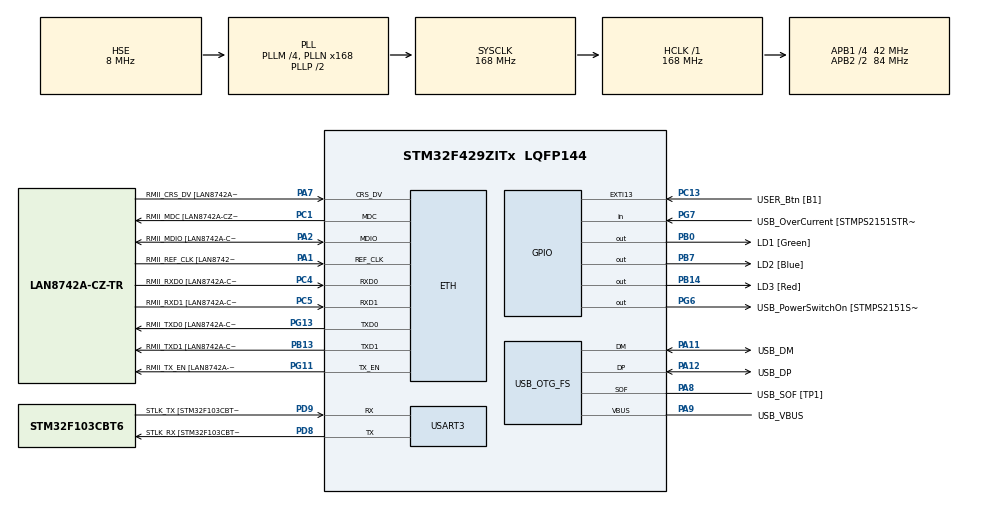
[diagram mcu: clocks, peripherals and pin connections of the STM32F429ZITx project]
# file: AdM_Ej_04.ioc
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ETH.MediaInterface=HAL_ETH_RMII_MODE
ETH.PHY_Name=LAN8742A_PHY_ADDRESS
ETH.PHY_Value=0
ETH.PhyAddress=0
Mcu.Family=STM32F4
Mcu.Name=STM32F429ZITx
Mcu.Package=LQFP144
NVIC.PriorityGroup=NVIC_PRIORITYGROUP_4
PA1.GPIO_Label=RMII_REF_CLK [LAN8742A-CZ-TR_REFCLK0]
PA1.Mode=RMII
PA1.Signal=ETH_REF_CLK
PA10.GPIO_Label=USB_ID
PA10.Signal=USB_OTG_FS_ID
PA11.GPIO_Label=USB_DM
PA11.Mode=Device_Only
PA11.Signal=USB_OTG_FS_DM
PA12.GPIO_Label=USB_DP
PA12.Mode=Device_Only
PA12.Signal=USB_OTG_FS_DP
PA13.GPIO_Label=TMS
PA13.Mode=Serial_Wire
PA13.Signal=SYS_JTMS-SWDIO
PA14.GPIO_Label=TCK
PA14.Mode=Serial_Wire
PA14.Signal=SYS_JTCK-SWCLK
PA2.GPIO_Label=RMII_MDIO [LAN8742A-CZ-TR_MDIO]
PA2.Mode=RMII
PA2.Signal=ETH_MDIO
PA7.GPIO_Label=RMII_CRS_DV [LAN8742A-CZ-TR_CRS_DV]
PA7.Mode=RMII
PA7.Signal=ETH_CRS_DV
PA8.GPIO_Label=USB_SOF [TP1]
PA8.Mode=Activate_SOF_FS
PA8.Signal=USB_OTG_FS_SOF
PA9.GPIO_Label=USB_VBUS
PA9.Mode=Activate_VBUS
PA9.Signal=USB_OTG_FS_VBUS
PB0.GPIO_Label=LD1 [Green]
PB0.Signal=GPIO_Output
PB13.GPIO_Label=RMII_TXD1 [LAN8742A-CZ-TR_TXD1]
PB13.Mode=RMII
PB13.Signal=ETH_TXD1
PB14.GPIO_Label=LD3 [Red]
PB14.Signal=GPIO_Output
PB7.GPIO_Label=LD2 [Blue]
PB7.Signal=GPIO_Output
PC1.GPIO_Label=RMII_MDC [LAN8742A-CZ-TR_MDC]
PC1.Mode=RMII
PC1.Signal=ETH_MDC
PC13.GPIO_Label=USER_Btn [B1]
PC13.Signal=GPXTI13
PC14/OSC32_IN.Mode=LSE-External-Oscillator
PC14/OSC32_IN.Signal=RCC_OSC32_IN
PC15/OSC32_OUT.Mode=LSE-External-Oscillator
PC15/OSC32_OUT.Signal=RCC_OSC32_OUT
PC4.GPIO_Label=RMII_RXD0 [LAN8742A-CZ-TR_RXD0]
PC4.Mode=RMII
PC4.Signal=ETH_RXD0
PC5.GPIO_Label=RMII_RXD1 [LAN8742A-CZ-TR_RXD1]
PC5.Mode=RMII
PC5.Signal=ETH_RXD1
PD8.GPIO_Label=STLK_RX [STM32F103CBT6_PA3]
PD8.Mode=Asynchronous
PD8.Signal=USART3_TX
PD9.GPIO_Label=STLK_TX [STM32F103CBT6_PA2]
PD9.Mode=Asynchronous
PD9.Signal=USART3_RX
PG11.GPIO_Label=RMII_TX_EN [LAN8742A-CZ-TR_TXEN]
PG11.Mode=RMII
PG11.Signal=ETH_TX_EN
PG13.GPIO_Label=RMII_TXD0 [LAN8742A-CZ-TR_TXD0]
PG13.Mode=RMII
PG13.Signal=ETH_TXD0
PG6.GPIO_Label=USB_PowerSwitchOn [STMPS2151STR_EN]
PG6.Signal=GPIO_Output
PG7.GPIO_Label=USB_OverCurrent [STMPS2151STR_FAULT]
PG7.Signal=GPIO_Input
PH0/OSC_IN.GPIO_Label=MCO [STM32F103CBT6_PA8]
PH0/OSC_IN.Mode=HSE-External-Clock-Source
PH0/OSC_IN.Signal=RCC_OSC_IN
PH1/OSC_OUT.Mode=HSE-External-Clock-Source
PH1/OSC_OUT.Signal=RCC_OSC_OUT
ProjectManager.HeapSize=0x200
ProjectManager.StackSize=0x400
ProjectManager.TargetToolchain=STM32CubeIDE
RCC.48MHZClocksFreq_Value=48000000
RCC.AHBFreq_Value=168000000
RCC.APB1CLKDivider=RCC_HCLK_DIV4
RCC.APB1Freq_Value=42000000
RCC.APB1TimFreq_Value=84000000
RCC.APB2CLKDivider=RCC_HCLK_DIV2
RCC.APB2Freq_Value=84000000
RCC.APB2TimCLKDivider=2
RCC.APB2TimFreq_Value=168000000
RCC.CortexFreq_Value=168000000
RCC.HCLKFreq_Value=168000000
RCC.HSE_VALUE=8000000
RCC.HSI_VALUE=16000000
RCC.PLLM=4
RCC.PLLMUL=RCC_PLL_MUL9
RCC.PLLN=168
RCC.PLLQ=7
RCC.PRESCALERUSB=RCC_USBCLKSOURCE_PLL_DIV1_5
RCC.SYSCLKFreq_VALUE=168000000
RCC.SYSCLKSource=RCC_SYSCLKSOURCE_PLLCLK
RCC.SYSCLKSourceVirtual=RCC_SYSCLKSOURCE_PLLCLK
RCC.USBFreq_Value=48000000
RCC.VCOOutputFreq_Value=336000000
USART3.VirtualMode=VM_ASYNC
USB_OTG_FS.VirtualMode=Device_Only
board=NUCLEO-F429ZI

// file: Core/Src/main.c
/* USER CODE BEGIN Header */
/**
  ******************************************************************************
  * @file           : main.c
  * @brief          : Main program body
  ******************************************************************************
  * @attention
  *
  * Copyright (c) 2023 STMicroelectronics.
  * All rights reserved.
  *
  * This software is licensed under terms that can be found in the LICENSE file
  * in the root directory of this software component.
  * If no LICENSE file comes with this software, it is provided AS-IS.
  *
  ******************************************************************************
  */
/* USER CODE END Header */
#include "main.h"
#include "string.h"

/* USER CODE BEGIN Includes */
#include "stdio.h"
#include "errno.h"
#include "stdlib.h"
#include "unistd.h"
#include "asm_func.h"
/* USER CODE END Includes */

/* USER CODE BEGIN PD */
#define MAX_UINT12 4095
/* USER CODE END PD */

ETH_TxPacketConfig TxConfig;
ETH_DMADescTypeDef  DMARxDscrTab[ETH_RX_DESC_CNT]; /* Ethernet Rx DMA Descriptors */
ETH_DMADescTypeDef  DMATxDscrTab[ETH_TX_DESC_CNT]; /* Ethernet Tx DMA Descriptors */

ETH_HandleTypeDef heth;

UART_HandleTypeDef huart3;

PCD_HandleTypeDef hpcd_USB_OTG_FS;

void SystemClock_Config(void);
static void MX_GPIO_Init(void);
static void MX_ETH_Init(void);
static void MX_USART3_UART_Init(void);
static void MX_USB_OTG_FS_PCD_Init(void);
/* USER CODE BEGIN PFP */
void productoEscalar12(uint16_t * vectorIn, uint16_t * vectorOut, uint32_t longitud, uint16_t escalar);
/* USER CODE END PFP */

/* USER CODE BEGIN 0 */
int _write(int file, char *data, int len)
{
   if ((file != STDOUT_FILENO) && (file != STDERR_FILENO))
   {
      errno = EBADF;
      return -1;
   }

   // arbitrary timeout 1000
   HAL_StatusTypeDef status =
      HAL_UART_Transmit(&huart3, (uint8_t*)data, len, 1000);

   // return # of bytes written - as best we can tell
   return (status == HAL_OK ? len : 0);
}
/* USER CODE END 0 */

int main(void)
{

  /* MCU Configuration--------------------------------------------------------*/

  /* Reset of all peripherals, Initializes the Flash interface and the Systick. */
  HAL_Init();

  /* Configure the system clock */
  SystemClock_Config();

  /* Initialize all configured peripherals */
  MX_GPIO_Init();
  MX_ETH_Init();
  MX_USART3_UART_Init();
  MX_USB_OTG_FS_PCD_Init();

  /* Infinite loop */
  /* USER CODE BEGIN WHILE */
  while (1)
  {
	  uint16_t vector [8]= {23, 456, 45, 989, 60, 3456, 9865, 12};
	  uint16_t escalar = 54;
	  uint32_t longitud = 8;
	  uint16_t output[8];

	  // Función de multiplicacion con saturación en C
	  productoEscalar12(vector, output, longitud, escalar);
	  printf("\r\n");
	  for(int i=0; i<longitud; i++){
		  printf("%d * %d = %d\n\r", vector[i], escalar, output[i]);
	  }

	  // Función mediante código assembler
	  escalar = 23;
	  asm_prodEsc12(vector, output, longitud, escalar);
	 	  printf("\r\n");
	 	  for(int i=0; i<longitud; i++){
	 		  printf("%d * %d = %d\n\r", vector[i], escalar, output[i]);
	 	  }
	  while(1);
	  /* USER CODE END WHILE */

  }
}

void SystemClock_Config(void)
{
  RCC_OscInitTypeDef RCC_OscInitStruct = {0};
  RCC_ClkInitTypeDef RCC_ClkInitStruct = {0};

  /** Configure the main internal regulator output voltage
  */
  __HAL_RCC_PWR_CLK_ENABLE();
  __HAL_PWR_VOLTAGESCALING_CONFIG(PWR_REGULATOR_VOLTAGE_SCALE1);

  /** Initializes the RCC Oscillators according to the specified parameters
  * in the RCC_OscInitTypeDef structure.
  */
  RCC_OscInitStruct.OscillatorType = RCC_OSCILLATORTYPE_HSE;
  RCC_OscInitStruct.HSEState = RCC_HSE_BYPASS;
  RCC_OscInitStruct.PLL.PLLState = RCC_PLL_ON;
  RCC_OscInitStruct.PLL.PLLSource = RCC_PLLSOURCE_HSE;
  RCC_OscInitStruct.PLL.PLLM = 4;
  RCC_OscInitStruct.PLL.PLLN = 168;
  RCC_OscInitStruct.PLL.PLLP = RCC_PLLP_DIV2;
  RCC_OscInitStruct.PLL.PLLQ = 7;
  if (HAL_RCC_OscConfig(&RCC_OscInitStruct) != HAL_OK)
  {
    Error_Handler();
  }

  /** Initializes the CPU, AHB and APB buses clocks
  */
  RCC_ClkInitStruct.ClockType = RCC_CLOCKTYPE_HCLK|RCC_CLOCKTYPE_SYSCLK
                              |RCC_CLOCKTYPE_PCLK1|RCC_CLOCKTYPE_PCLK2;
  RCC_ClkInitStruct.SYSCLKSource = RCC_SYSCLKSOURCE_PLLCLK;
  RCC_ClkInitStruct.AHBCLKDivider = RCC_SYSCLK_DIV1;
  RCC_ClkInitStruct.APB1CLKDivider = RCC_HCLK_DIV4;
  RCC_ClkInitStruct.APB2CLKDivider = RCC_HCLK_DIV2;

  if (HAL_RCC_ClockConfig(&RCC_ClkInitStruct, FLASH_LATENCY_5) != HAL_OK)
  {
    Error_Handler();
  }
}

static void MX_ETH_Init(void)
{

   static uint8_t MACAddr[6];

  heth.Instance = ETH;
  MACAddr[0] = 0x00;
  MACAddr[1] = 0x80;
  MACAddr[2] = 0xE1;
  MACAddr[3] = 0x00;
  MACAddr[4] = 0x00;
  MACAddr[5] = 0x00;
  heth.Init.MACAddr = &MACAddr[0];
  heth.Init.MediaInterface = HAL_ETH_RMII_MODE;
  heth.Init.TxDesc = DMATxDscrTab;
  heth.Init.RxDesc = DMARxDscrTab;
  heth.Init.RxBuffLen = 1524;

  if (HAL_ETH_Init(&heth) != HAL_OK)
  {
    Error_Handler();
  }

  memset(&TxConfig, 0 , sizeof(ETH_TxPacketConfig));
  TxConfig.Attributes = ETH_TX_PACKETS_FEATURES_CSUM | ETH_TX_PACKETS_FEATURES_CRCPAD;
  TxConfig.ChecksumCtrl = ETH_CHECKSUM_IPHDR_PAYLOAD_INSERT_PHDR_CALC;
  TxConfig.CRCPadCtrl = ETH_CRC_PAD_INSERT;

}

static void MX_USART3_UART_Init(void)
{

  huart3.Instance = USART3;
  huart3.Init.BaudRate = 115200;
  huart3.Init.WordLength = UART_WORDLENGTH_8B;
  huart3.Init.StopBits = UART_STOPBITS_1;
  huart3.Init.Parity = UART_PARITY_NONE;
  huart3.Init.Mode = UART_MODE_TX_RX;
  huart3.Init.HwFlowCtl = UART_HWCONTROL_NONE;
  huart3.Init.OverSampling = UART_OVERSAMPLING_16;
  if (HAL_UART_Init(&huart3) != HAL_OK)
  {
    Error_Handler();
  }

}

static void MX_USB_OTG_FS_PCD_Init(void)
{

  hpcd_USB_OTG_FS.Instance = USB_OTG_FS;
  hpcd_USB_OTG_FS.Init.dev_endpoints = 4;
  hpcd_USB_OTG_FS.Init.speed = PCD_SPEED_FULL;
  hpcd_USB_OTG_FS.Init.dma_enable = DISABLE;
  hpcd_USB_OTG_FS.Init.phy_itface = PCD_PHY_EMBEDDED;
  hpcd_USB_OTG_FS.Init.Sof_enable = ENABLE;
  hpcd_USB_OTG_FS.Init.low_power_enable = DISABLE;
  hpcd_USB_OTG_FS.Init.lpm_enable = DISABLE;
  hpcd_USB_OTG_FS.Init.vbus_sensing_enable = ENABLE;
  hpcd_USB_OTG_FS.Init.use_dedicated_ep1 = DISABLE;
  if (HAL_PCD_Init(&hpcd_USB_OTG_FS) != HAL_OK)
  {
    Error_Handler();
  }

}

static void MX_GPIO_Init(void)
{
  GPIO_InitTypeDef GPIO_InitStruct = {0};

  /* GPIO Ports Clock Enable */
  __HAL_RCC_GPIOC_CLK_ENABLE();
  __HAL_RCC_GPIOH_CLK_ENABLE();
  __HAL_RCC_GPIOA_CLK_ENABLE();
  __HAL_RCC_GPIOB_CLK_ENABLE();
  __HAL_RCC_GPIOD_CLK_ENABLE();
  __HAL_RCC_GPIOG_CLK_ENABLE();

  /*Configure GPIO pin Output Level */
  HAL_GPIO_WritePin(GPIOB, LD1_Pin|LD3_Pin|LD2_Pin, GPIO_PIN_RESET);

  /*Configure GPIO pin Output Level */
  HAL_GPIO_WritePin(USB_PowerSwitchOn_GPIO_Port, USB_PowerSwitchOn_Pin, GPIO_PIN_RESET);

  /*Configure GPIO pin : USER_Btn_Pin */
  GPIO_InitStruct.Pin = USER_Btn_Pin;
  GPIO_InitStruct.Mode = GPIO_MODE_IT_RISING;
  GPIO_InitStruct.Pull = GPIO_NOPULL;
  HAL_GPIO_Init(USER_Btn_GPIO_Port, &GPIO_InitStruct);

  /*Configure GPIO pins : LD1_Pin LD3_Pin LD2_Pin */
  GPIO_InitStruct.Pin = LD1_Pin|LD3_Pin|LD2_Pin;
  GPIO_InitStruct.Mode = GPIO_MODE_OUTPUT_PP;
  GPIO_InitStruct.Pull = GPIO_NOPULL;
  GPIO_InitStruct.Speed = GPIO_SPEED_FREQ_LOW;
  HAL_GPIO_Init(GPIOB, &GPIO_InitStruct);

  /*Configure GPIO pin : USB_PowerSwitchOn_Pin */
  GPIO_InitStruct.Pin = USB_PowerSwitchOn_Pin;
  GPIO_InitStruct.Mode = GPIO_MODE_OUTPUT_PP;
  GPIO_InitStruct.Pull = GPIO_NOPULL;
  GPIO_InitStruct.Speed = GPIO_SPEED_FREQ_LOW;
  HAL_GPIO_Init(USB_PowerSwitchOn_GPIO_Port, &GPIO_InitStruct);

  /*Configure GPIO pin : USB_OverCurrent_Pin */
  GPIO_InitStruct.Pin = USB_OverCurrent_Pin;
  GPIO_InitStruct.Mode = GPIO_MODE_INPUT;
  GPIO_InitStruct.Pull = GPIO_NOPULL;
  HAL_GPIO_Init(USB_OverCurrent_GPIO_Port, &GPIO_InitStruct);

}

/* USER CODE BEGIN 4 */
void productoEscalar12(uint16_t * vectorIn, uint16_t * vectorOut, uint32_t longitud, uint16_t escalar){
	uint32_t temp;
	for(int i=0; i<longitud; i++){
		temp = vectorIn[i] * escalar;
		if(temp>(MAX_UINT12)){
			vectorOut[i] = MAX_UINT12;
		}
		else{
			vectorOut[i] = (uint16_t) temp;
		}}
}
/* USER CODE END 4 */

void Error_Handler(void)
{
  __disable_irq();
  while (1)
  {
  }
}
